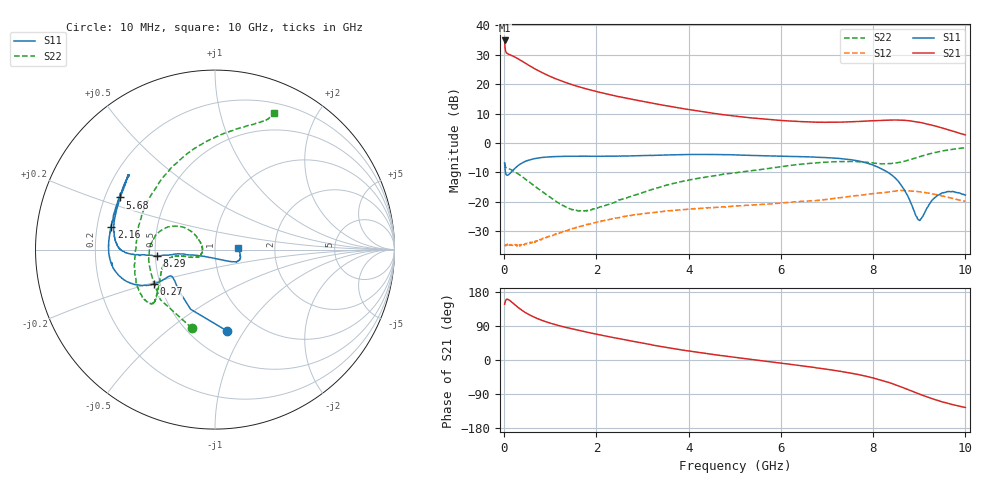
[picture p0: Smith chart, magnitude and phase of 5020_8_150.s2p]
# Hz S  dB  R 50
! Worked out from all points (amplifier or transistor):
!   1000 points, 10 MHz to 10 GHz, reference 50 ohm
!   highest |S21| = 34.9 dB at 10 MHz (marker M1)
!   |S21| within 3 dB of that: start of sweep to 25.04 MHz
!   unconditionally stable (mu >= 1): 50.07 MHz to end of sweep
!   at 1.67 GHz: K = 1.15, MAG = 21.3 dB, |S12| = -28.3 dB
!   at 5.01 GHz: K = 1.11, MAG = 13.3 dB, |S12| = -21.5 dB
!   at 10 GHz: K = 1.14, MAG = 9.1 dB, |S12| = -19.9 dB
!   S11 on the Smith chart (normalised r, x): 10 MHz: 0.73, -0.84; 270 MHz: 0.46, -0.21; 2.16 GHz: 0.26, +0.10; 5.68 GHz: 0.26, +0.24; 8.29 GHz: 0.51, -0.04; 10 GHz: 1.30, +0.03
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1e7  -6.78 -81.6  34.87 147.4  -35.09 40.5  -6.82 -106.4
7e7  -11.01 -146.8  30.41 160.4  -34.47 5.1  -8.62 -174.5
8e7  -10.94 -148.6  30.31 160.0  -34.89 7.9  -8.71 -177.1
1.1e8  -10.65 -149.8  30.10 158.1  -34.84 6.4  -8.86 176.7
2.7e8  -8.16 -150.9  28.90 141.8  -34.80 12.4  -10.19 158.3
3.8e8  -6.92 -153.6  27.90 131.6  -34.37 17.9  -11.42 150.9
5.2e8  -5.93 -158.3  26.56 121.1  -34.30 21.6  -13.07 145.3
6.5e8  -5.38 -162.3  25.36 113.1  -33.48 28.4  -14.60 143.1
7.9e8  -5.03 -166.1  24.19 106.0  -32.94 33.4  -16.19 142.4
9.6e8  -4.78 -170.1  22.91 98.8  -31.86 36.8  -18.08 144.8
1.15e9  -4.64 -174.1  21.63 92.0  -30.91 39.3  -20.14 150.8
1.68e9  -4.53 176.3  18.84 76.4  -28.32 41.6  -23.07 180.0
2.16e9  -4.56 167.5  16.89 64.2  -26.47 40.4  -21.50 -159.3
3.34e9  -4.19 146.4  13.13 36.9  -23.50 27.3  -15.24 -167.4
3.94e9  -3.96 140.2  11.51 24.7  -22.67 20.4  -12.86 -170.5
5.01e9  -4.08 142.3  9.12 6.9  -21.54 9.6  -10.15 -161.0
5.68e9  -4.39 151.2  8.04 -3.3  -20.90 3.9  -8.82 -148.8
6.67e9  -4.79 168.7  7.11 -18.8  -19.72 -6.9  -6.94 -138.9
8.29e9  -9.76 -174.1  7.71 -57.4  -16.84 -38.0  -7.13 168.9
8.34e9  -10.21 -173.7  7.74 -59.3  -16.68 -39.3  -7.03 164.6
9e9  -26.33 -102.2  7.03 -89.7  -16.65 -67.5  -4.72 99.9
1e10  -17.75 4.3  2.73 -125.4  -19.93 -100.4  -1.63 66.8
